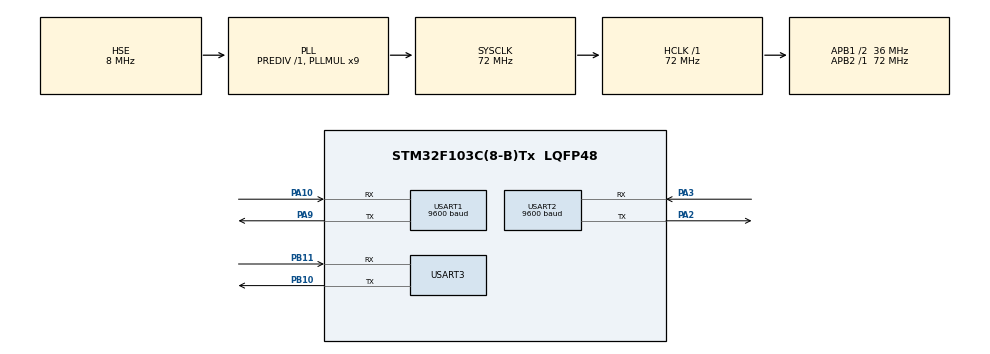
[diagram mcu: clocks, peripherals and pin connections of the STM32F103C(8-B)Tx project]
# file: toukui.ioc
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Mcu.Family=STM32F1
Mcu.Name=STM32F103C(8-B)Tx
Mcu.Package=LQFP48
NVIC.PriorityGroup=NVIC_PRIORITYGROUP_4
NVIC.USART1_IRQn=true\:0\:0\:false\:false\:true\:true\:true\:true
PA10.Mode=Asynchronous
PA10.Signal=USART1_RX
PA13.Mode=Serial_Wire
PA13.Signal=SYS_JTMS-SWDIO
PA14.Mode=Serial_Wire
PA14.Signal=SYS_JTCK-SWCLK
PA2.Mode=Asynchronous
PA2.Signal=USART2_TX
PA3.Mode=Asynchronous
PA3.Signal=USART2_RX
PA9.Mode=Asynchronous
PA9.Signal=USART1_TX
PB10.Mode=Asynchronous
PB10.Signal=USART3_TX
PB11.Mode=Asynchronous
PB11.Signal=USART3_RX
PD0-OSC_IN.Mode=HSE-External-Oscillator
PD0-OSC_IN.Signal=RCC_OSC_IN
PD1-OSC_OUT.Mode=HSE-External-Oscillator
PD1-OSC_OUT.Signal=RCC_OSC_OUT
ProjectManager.HeapSize=0x200
ProjectManager.StackSize=0x400
ProjectManager.TargetToolchain=MDK-ARM V5.27
RCC.AHBFreq_Value=72000000
RCC.APB1CLKDivider=RCC_HCLK_DIV2
RCC.APB1Freq_Value=36000000
RCC.APB1TimFreq_Value=72000000
RCC.APB2Freq_Value=72000000
RCC.APB2TimFreq_Value=72000000
RCC.HCLKFreq_Value=72000000
RCC.PLLMUL=RCC_PLL_MUL9
RCC.PLLSourceVirtual=RCC_PLLSOURCE_HSE
RCC.SYSCLKFreq_VALUE=72000000
RCC.SYSCLKSource=RCC_SYSCLKSOURCE_PLLCLK
RCC.USBFreq_Value=72000000
USART1.BaudRate=9600
USART1.VirtualMode=VM_ASYNC
USART2.BaudRate=9600
USART2.VirtualMode=VM_ASYNC
USART3.VirtualMode=VM_ASYNC
board=custom

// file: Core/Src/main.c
/* USER CODE BEGIN Header */
/**
  ******************************************************************************
  * @file           : main.c
  * @brief          : Main program body
  ******************************************************************************
  * @attention
  *
  * Copyright (c) 2022 STMicroelectronics.
  * All rights reserved.
  *
  * This software is licensed under terms that can be found in the LICENSE file
  * in the root directory of this software component.
  * If no LICENSE file comes with this software, it is provided AS-IS.
  *
  ******************************************************************************
  */
/* USER CODE END Header */
#include "main.h"
#include "usart.h"
#include "gpio.h"

/* USER CODE BEGIN Includes */
#include "SYN6288.h"
#include <string.h>
uint8_t rx[10];
//人的索引是14
char *Data_Obj[20]={"飞机","自行车","小鸟","船只","水瓶","公交车","轿车","小猫","椅子","牛","餐桌","小狗","马","摩托","人","植物","绵羊","沙发","火车","遥控器"};

typedef struct {

	uint8_t obj[20];
	uint8_t count;
}Data_pool;
Data_pool Data_pools;
/* USER CODE END Includes */

void SystemClock_Config(void);

int main(void)
{

  /* MCU Configuration--------------------------------------------------------*/

  /* Reset of all peripherals, Initializes the Flash interface and the Systick. */
  HAL_Init();

  /* Configure the system clock */
  SystemClock_Config();

  /* Initialize all configured peripherals */
  MX_GPIO_Init();
  MX_USART1_UART_Init();
  MX_USART2_UART_Init();
  MX_USART3_UART_Init();
  /* USER CODE BEGIN 2 */

//	SYN_FrameInfo("[m5][v5][t5]前方有");//成功发送

	Data_pools.count=0;
	memset(Data_pools.obj, -1, sizeof(20));
	HAL_UART_Receive_IT(&huart1,rx,3);

	char temp[20]={'\0'};
	uint8_t flag=0;
  /* USER CODE END 2 */

  /* Infinite loop */
  while (1)
  {
		if(Data_pools.count==0)
		{
			HAL_UART_Transmit(&huart1, "nothing\r\n", sizeof( "nothing\r\n"),10000);
		}
		else
		{
			sprintf(temp,"[m5][v1][t5]%s\r\n",Data_Obj[Data_pools.obj[Data_pools.count-1]]);
			HAL_UART_Transmit(&huart1, temp, sizeof(temp),10000);
			SYN_FrameInfo(temp);
		}

		if(flag<10)
		{
			flag++;
		}
		else
		{
			flag=0;//清空
				Data_pools.count=0;
				memset(Data_pools.obj, -1, sizeof(20));
		}

		HAL_Delay(5000);

  }
}

void SystemClock_Config(void)
{
  RCC_OscInitTypeDef RCC_OscInitStruct = {0};
  RCC_ClkInitTypeDef RCC_ClkInitStruct = {0};

  /** Initializes the RCC Oscillators according to the specified parameters
  * in the RCC_OscInitTypeDef structure.
  */
  RCC_OscInitStruct.OscillatorType = RCC_OSCILLATORTYPE_HSE;
  RCC_OscInitStruct.HSEState = RCC_HSE_ON;
  RCC_OscInitStruct.HSEPredivValue = RCC_HSE_PREDIV_DIV1;
  RCC_OscInitStruct.HSIState = RCC_HSI_ON;
  RCC_OscInitStruct.PLL.PLLState = RCC_PLL_ON;
  RCC_OscInitStruct.PLL.PLLSource = RCC_PLLSOURCE_HSE;
  RCC_OscInitStruct.PLL.PLLMUL = RCC_PLL_MUL9;
  if (HAL_RCC_OscConfig(&RCC_OscInitStruct) != HAL_OK)
  {
    Error_Handler();
  }

  /** Initializes the CPU, AHB and APB buses clocks
  */
  RCC_ClkInitStruct.ClockType = RCC_CLOCKTYPE_HCLK|RCC_CLOCKTYPE_SYSCLK
                              |RCC_CLOCKTYPE_PCLK1|RCC_CLOCKTYPE_PCLK2;
  RCC_ClkInitStruct.SYSCLKSource = RCC_SYSCLKSOURCE_PLLCLK;
  RCC_ClkInitStruct.AHBCLKDivider = RCC_SYSCLK_DIV1;
  RCC_ClkInitStruct.APB1CLKDivider = RCC_HCLK_DIV2;
  RCC_ClkInitStruct.APB2CLKDivider = RCC_HCLK_DIV1;

  if (HAL_RCC_ClockConfig(&RCC_ClkInitStruct, FLASH_LATENCY_2) != HAL_OK)
  {
    Error_Handler();
  }
}

/* USER CODE BEGIN 4 */
void HAL_UART_RxCpltCallback(UART_HandleTypeDef *huart)
{
	uint8_t tmp;
	if(huart->Instance == USART1)
	{
		if(rx[0]==0x0A)//0A
		{
			HAL_UART_Transmit(&huart1, "双2\r\n", sizeof("双2\r\n"),10000);
			HAL_UART_Receive_IT(&huart1, rx, 3);

		}
		else if(rx[1]==0x0D)	//31 0D 0A
		{
			tmp = rx[0]-0x30;//Data_Obj[tmp]是读取到的数据

			//查找是否有相同数字的
			char temp[20]={'\0'};
			for(int i=0 ; i<=(Data_pools.count) ;i++ )//检查有没有重复的
			{
					if(tmp==Data_pools.obj[i])//如果有重复就不加
					{
						HAL_UART_Transmit(&huart1, "cf\r\n", sizeof("cf\r\n"),10000);
						break;
					}
					else if( i==(Data_pools.count) )//读到最后都没有重复就加
					{
						Data_pools.obj[Data_pools.count]=tmp;
						sprintf(temp,"%d %d %s\r\n",Data_pools.count,Data_pools.obj[Data_pools.count],Data_Obj[Data_pools.obj[Data_pools.count]]);
						HAL_UART_Transmit(&huart1, temp, sizeof(temp),10000);
						Data_pools.count++;
						break;
					}
			}

//			sprintf(temp,"%d%s\r\n",Data_pools.count,Data_Obj[Data_pools.obj[Data_pools.count]]);
//			HAL_UART_Transmit(&huart1, temp, sizeof(temp),10000);

	//		SYN_FrameInfo(Data_Obj[tmp]);
			HAL_UART_Transmit(&huart1, "\r\n", sizeof("\r\n"),10000);
			HAL_UART_Transmit(&huart1, "单\r\n", sizeof("单\r\n"),10000);
			HAL_UART_Receive_IT(&huart1, rx, 3);

		}
		else if(rx[2]==0x0D)	//31 34 0D 0A
		{
			//提取出来
			tmp = rx[1]-0x30;//Data_Obj[tmp]是读取到的数据
			tmp += 10;//变成两位数0~19

			//查找是否有相同数字的
			char temp[20]={'\0'};
			for(int i=0 ; i<=(Data_pools.count) ;i++ )//检查有没有重复的
			{
					if(tmp==Data_pools.obj[i])//如果有重复就不加
					{
						HAL_UART_Transmit(&huart1, "cf\r\n", sizeof("cf\r\n"),10000);
						break;
					}
					else if( i==(Data_pools.count) )//读到最后都没有重复就加
					{
						Data_pools.obj[Data_pools.count]=tmp;
						sprintf(temp,"%d %d %s\r\n",Data_pools.count,Data_pools.obj[Data_pools.count],Data_Obj[Data_pools.obj[Data_pools.count]]);
						HAL_UART_Transmit(&huart1, temp, sizeof(temp),10000);
						Data_pools.count++;
						break;
					}
			}

			HAL_UART_Transmit(&huart1, "双1\r\n", sizeof("双1\r\n"),10000);
			HAL_UART_Receive_IT(&huart1, rx, 1);
		}
	}
}

/* USER CODE END 4 */

void Error_Handler(void)
{
  __disable_irq();
  while (1)
  {
  }
}
